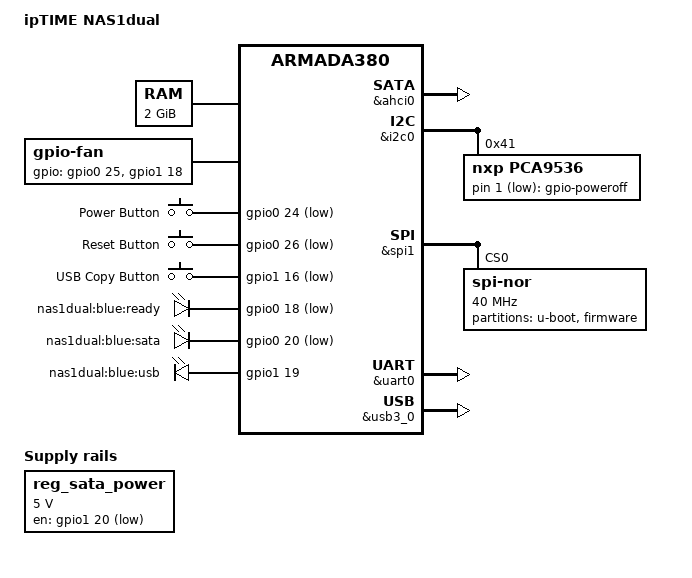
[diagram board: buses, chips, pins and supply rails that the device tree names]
/*
 * Device Tree file for ipTIME NAS1dual
 *
 * Copyright (C) 2019 Sungbo Eo <mans0n@gorani.run>
 *
 * This file is dual-licensed: you can use it either under the terms
 * of the GPL or the X11 license, at your option. Note that this dual
 * licensing only applies to this file, and not this project as a
 * whole.
 *
 *  a) This file is licensed under the terms of the GNU General Public
 *     License version 2.  This program is licensed "as is" without
 *     any warranty of any kind, whether express or implied.
 *
 * Or, alternatively,
 *
 *  b) Permission is hereby granted, free of charge, to any person
 *     obtaining a copy of this software and associated documentation
 *     files (the "Software"), to deal in the Software without
 *     restriction, including without limitation the rights to use,
 *     copy, modify, merge, publish, distribute, sublicense, and/or
 *     sell copies of the Software, and to permit persons to whom the
 *     Software is furnished to do so, subject to the following
 *     conditions:
 *
 *     The above copyright notice and this permission notice shall be
 *     included in all copies or substantial portions of the Software.
 *
 *     THE SOFTWARE IS PROVIDED "AS IS", WITHOUT WARRANTY OF ANY KIND,
 *     EXPRESS OR IMPLIED, INCLUDING BUT NOT LIMITED TO THE WARRANTIES
 *     OF MERCHANTABILITY, FITNESS FOR A PARTICULAR PURPOSE AND
 *     NONINFRINGEMENT. IN NO EVENT SHALL THE AUTHORS OR COPYRIGHT
 *     HOLDERS BE LIABLE FOR ANY CLAIM, DAMAGES OR OTHER LIABILITY,
 *     WHETHER IN AN ACTION OF CONTRACT, TORT OR OTHERWISE, ARISING
 *     FROM, OUT OF OR IN CONNECTION WITH THE SOFTWARE OR THE USE OR
 *     OTHER DEALINGS IN THE SOFTWARE.
 */

/dts-v1/;

#include <dt-bindings/gpio/gpio.h>
#include <dt-bindings/input/input.h>
#include "armada-385.dtsi"

/ {
	model = "ipTIME NAS1dual";
	compatible = "iptime,nas1dual", "marvell,armada385", "marvell,armada380";

	chosen {
		bootargs = "console=ttyS0,115200n8 rootfstype=squashfs,jffs2";
		// stdout-path = "serial0:115200n8";
		stdout-path = &uart0;
	};

	memory {
		device_type = "memory";
		reg = <0x00000000 0x80000000>; /* 2GB */
	};

	soc {
		ranges = <MBUS_ID(0xf0, 0x01) 0 0xf1000000 0x100000
			  MBUS_ID(0x01, 0x1d) 0 0xfff00000 0x100000
			  MBUS_ID(0x09, 0x19) 0 0xf1100000 0x10000
			  MBUS_ID(0x09, 0x15) 0 0xf1110000 0x10000
			  MBUS_ID(0x0c, 0x04) 0 0xf1200000 0x100000>;

	gpio-fan {
		compatible = "gpio-fan";
		pinctrl-0 = <&gpio_fan_pins>;
		pinctrl-names = "default";
		gpios = <&gpio0 25 GPIO_ACTIVE_HIGH
		         &gpio1 18 GPIO_ACTIVE_HIGH>;
		gpio-fan,speed-map = <0    0
		                      3800 1
		                      5000 2>;
	};

	gpio-keys {
		compatible = "gpio-keys";
		pinctrl-0 = <&gpio_keys_pins>;
		pinctrl-names = "default";

		power {
			label = "Power Button";
			linux,code = <KEY_POWER>;
			gpios = <&gpio0 24 GPIO_ACTIVE_LOW>;
			debounce-interval = <60>;
		};

		reset {
			label = "Reset Button";
			linux,code = <KEY_RESTART>;
			gpios = <&gpio0 26 GPIO_ACTIVE_LOW>;
			debounce-interval = <60>;
		};

		copy {
			label = "USB Copy Button";
			linux,code = <KEY_COPY>;
			gpios = <&gpio1 16 GPIO_ACTIVE_LOW>;
			debounce-interval = <60>;
		};
	};

	gpio-leds {
		compatible = "gpio-leds";
		pinctrl-0 = <&gpio_leds_pins>;
		pinctrl-names = "default";

		ready {
			label = "nas1dual:blue:ready";
			gpios = <&gpio0 18 GPIO_ACTIVE_LOW>;
		};

		sata {
			label = "nas1dual:blue:sata";
			gpios = <&gpio0 20 GPIO_ACTIVE_LOW>;
			linux,default-trigger = "disk-activity";
		};

		usb {
			label = "nas1dual:blue:usb";
			gpios = <&gpio1 19 GPIO_ACTIVE_HIGH>;
		};
	};

	gpio-poweroff {
		compatible = "gpio-poweroff";
		gpios = <&pca9536 1 GPIO_ACTIVE_LOW>;
	};

	reg_sata_power: regulator {
		compatible = "regulator-fixed";
		pinctrl-names = "default";
		pinctrl-0 = <&sata_power_pins>;
		regulator-name = "sata-power";
		regulator-min-microvolt = <5000000>;
		regulator-max-microvolt = <5000000>;
		regulator-always-on;
		gpio = <&gpio1 20 GPIO_ACTIVE_LOW>;
	};
};

&ahci0 {
	status = "okay";
};

&bm {
	status = "okay";
};

&bm_bppi {
	status = "okay";
};

&eth0 {
	pinctrl-names = "default";
	pinctrl-0 = <&ge0_rgmii_pins>;
	status = "okay";
	phy-mode = "rgmii-id";
	mtd-mac-address = <&uboot 0xfffa8>;

	fixed-link {
		speed = <1000>;
		full-duplex;
	};
};

&eth1 {
	pinctrl-names = "default";
	pinctrl-0 = <&ge1_rgmii_pins>;
	status = "okay";
	phy-mode = "rgmii-id";
	mtd-mac-address = <&uboot 0xfffa8>;

	fixed-link {
		speed = <1000>;
		full-duplex;
	};
};

&i2c0 {
	pinctrl-names = "default";
	pinctrl-0 = <&i2c0_pins>;
	status = "okay";

	pca9536: gpio@41 {
		compatible = "nxp,pca9536";
		#gpio-cells = <2>;
		gpio-controller;
		reg = <0x41>;
		ngpios = <4>;
	};
};

// &mdio {
// 	pinctrl-names = "default";
// 	pinctrl-0 = <&mdio_pins>;
// 	status = "okay";

// 	phy1: phy@1 {
// 		status = "okay";
// 		compatible = "ethernet-phy-id0141.0dd0", "ethernet-phy-ieee802.3-c22";
// 		reg = <1>;
// 	};
// };

&pinctrl {
	gpio_keys_pins: gpio-keys-pins {
		/* mpp24: power, mpp26: reset, mpp48: copy */
		marvell,pins = "mpp24", "mpp26", "mpp48";
		marvell,function = "gpio";
	};

	gpio_leds_pins: gpio-leds-pins {
		/* mpp18: ready, mpp20: sata, mpp51: usb */
		marvell,pins = "mpp18", "mpp20", "mpp51";
		marvell,function = "gpio";
	};

	gpio_fan_pins: gpio-fan-pins {
		/* mpp25: low-speed, mpp50: high-speed */
		marvell,pins = "mpp25", "mpp50";
		marvell,function = "gpio";
	};

	sata_power_pins: sata-power-pins {
		marvell,pins = "mpp52";
		marvell,function = "gpio";
	};
};

&spi1 {
	pinctrl-names = "default";
	pinctrl-0 = <&spi1_pins>;
	status = "okay";

	spi-nor@0 {
		compatible = "jedec,spi-nor";
		#address-cells = <1>;
		#size-cells = <1>;
		reg = <0>;
		spi-max-frequency = <40000000>;

		partitions {
			compatible = "fixed-partitions";
			#address-cells = <1>;
			#size-cells = <1>;

			uboot: partition@0 {
				reg = <0x0 0x00100000>;
				label = "u-boot";
			};

			partition@100000 {
				reg = <0x00100000 0x03f00000>;
				label = "firmware";
			};
		};
	};
};

&uart0 {
	pinctrl-names = "default";
	pinctrl-0 = <&uart0_pins>;
	status = "okay";
};

// &uart1 {
// 	pinctrl-names = "default";
// 	pinctrl-0 = <&uart1_pins>;
// 	status = "okay";
// };

&usb3_0 {
	status = "okay";
};
